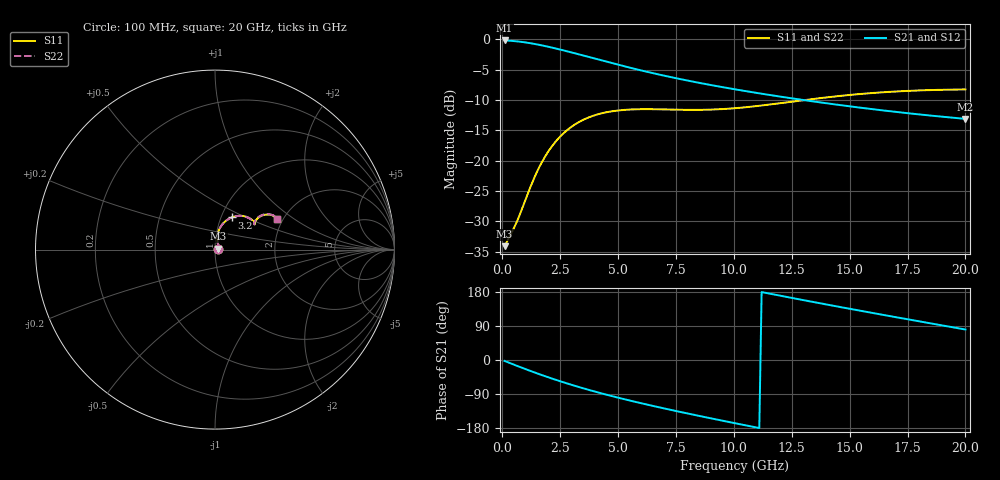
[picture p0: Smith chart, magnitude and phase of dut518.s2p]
! Touchstone file exported from HFSS 2024.1.0
!  File:  C:/UserFiles/LocalFiles/RDL_TSV_Batchsim/temp_RDL_TSV_518_1779741420.aedt
!  Generated:  04:56:45 AM May 26, 2026
!  Design:  RDL_TSV
!  Project:  temp_RDL_TSV_518_1779741420
!  Setup:  Setup1
!  Solution:  Sweep
! Variables:
!  dtsv = 9.81um
!  hbump = 3um
!  htsv = 97.31um
!  ldown = 658.81um
!  lrdl = 486.36um
!  p = 40
!  p1 = 56.66um
!  rhole = 10um
!  subl = 3921.87um
!  t = 450um
!  tdown = 3.67um
!  trdl = 3.75um
!  viad = 10um
!  wdown = 21.62um
!  wrdl = 18.11um
!  xbump = 18um
# GHz S MA R 50.000000
! Terminal data exported
! Port[1] = TM1_1_T1
! Port[2] = TM1_4_T1
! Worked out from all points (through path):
!   200 points, 100 MHz to 20 GHz, reference 50 ohm
!   highest |S21| = -0.18 dB at 100 MHz (marker M1); lowest = -13.1 dB at 20 GHz (marker M2)
!   group delay of S21, straight-line fit = 36.6 ps
!   lowest |S11| = -34.1 dB at 100 MHz (marker M3), VSWR 1.04, Z = 52 + j0.474 ohm
!   |S11| at or under -10 dB: start of sweep to 13.08 GHz
!   |S22| runs from -34.1 to -8.2 dB; largest |S21 - S12| = 8.7e-15
!   S11 on the Smith chart (normalised r, x): 100 MHz: 1.04, +0.01; 3.2 GHz: 1.12, +0.42; 20 GHz: 1.87, +0.75
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0.1  0.01969 13.4  0.9794 -2.5  0.9794 -2.5  0.01965 13.3
! Gamma 0 0 0 0
! Port Impedance 50 0 50 0
0.5  0.02773 47.4  0.9684 -12.2  0.9684 -12.2  0.02757 47.4
0.8  0.03764 65.4  0.9548 -19.4  0.9548 -19.4  0.0374 65.4
1.3  0.06638 79.2  0.9236 -30.8  0.9236 -30.8  0.0661 79.3
1.6  0.08851 80.2  0.9009 -37.4  0.9009 -37.4  0.08822 80.4
1.9  0.112 78.6  0.8764 -43.9  0.8764 -43.9  0.1117 78.7
2.3  0.1431 74.4  0.8418 -52.1  0.8418 -52.1  0.1427 74.5
2.7  0.1718 69.2  0.8062 -60.0  0.8062 -60.0  0.1713 69.2
3.2  0.2022 62.5  0.7617 -69.4  0.7617 -69.4  0.2016 62.5
3.5  0.2172 58.6  0.7356 -74.8  0.7356 -74.8  0.2166 58.6
4.3  0.2457 49.4  0.6698 -88.4  0.6698 -88.4  0.2448 49.4
5.1  0.2603 42.3  0.6111 -100.9  0.6111 -100.9  0.2591 42.3
5.9  0.2652 37.2  0.56 -112.7  0.56 -112.7  0.2638 37.2
6.8  0.2648 33.8  0.511 -125.2  0.511 -125.2  0.2632 33.9
8.3  0.262 32.4  0.4454 -145.0  0.4454 -145.0  0.2604 32.7
10.1  0.2709 34.6  0.3856 -167.5  0.3856 -167.5  0.2698 35.0
11.8  0.2941 36.3  0.3417 172.1  0.3417 172.1  0.2937 36.7
13.4  0.3219 36.0  0.3081 153.4  0.3081 153.4  0.322 36.4
15  0.3478 34.2  0.2803 135.2  0.2803 135.2  0.3485 34.6
16.7  0.3688 31.4  0.2559 116.3  0.2559 116.3  0.3699 31.7
18.3  0.3808 28.6  0.2372 98.8  0.2372 98.8  0.3823 28.9
20  0.3863 26.1  0.221 80.5  0.221 80.5  0.388 26.4
